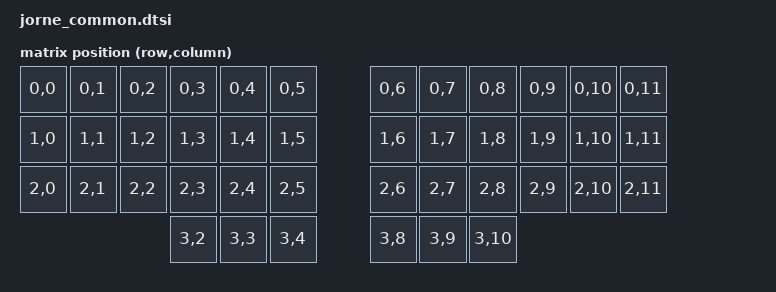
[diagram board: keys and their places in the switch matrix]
dts
/*
 * ------------------------------------------------------------------
 * Файл:      jorne_common.dtsi
 * Версия:    1.0
 * Автор:     Evgeniy Moskovkin
 * Описание:  Общий matrix-transform для сплит-клавиатуры Jorne
 *            (левая половина + правая половина + донгл-центр).
 *            Подключается через #include во ВСЕ ТРИ шилда, чтобы
 *            у всех частей клавиатуры была ОДИНАКОВАЯ нумерация
 *            "key position". Это обязательное требование ZMK для
 *            сплит-клавиатур: без этого позиции левой и правой
 *            половинки накладываются друг на друга.
 *
 *            Раскладка соответствует уже существующему
 *            jorne_dongle.keymap: 6 колонок на половину в трёх
 *            основных рядах + по 3 клавиши на больших пальцах.
 *            Итого 6*3*2 + 3*2 = 42 позиции — ровно столько,
 *            сколько бindings в keymap.
 *
 *            ВАЖНО: физические номера колонок для ряда больших
 *            пальцев (RC(3, ...)) ниже — ориентировочные (2,3,4-й
 *            провод из семи). Их нужно проверить на реальной плате
 *            методом из раздела 4 этого документа и поправить при
 *            необходимости под свою распайку.
 * ------------------------------------------------------------------
 */

#include <dt-bindings/zmk/matrix_transform.h>

/ {
    default_transform: keymap_transform_0 {
        compatible = "zmk,matrix-transform";
        columns = <12>;   // 6 колонок слева + 6 колонок справа
        rows = <4>;       // 3 основных ряда + 1 ряд больших пальцев

        map = <
        // ---- Ряд 0: цифровой/верхний буквенный ряд ----------------------
        RC(0,0) RC(0,1) RC(0,2) RC(0,3) RC(0,4) RC(0,5)    RC(0,6) RC(0,7) RC(0,8) RC(0,9) RC(0,10) RC(0,11)
        // ---- Ряд 1: домашний ряд -----------------------------------------
        RC(1,0) RC(1,1) RC(1,2) RC(1,3) RC(1,4) RC(1,5)    RC(1,6) RC(1,7) RC(1,8) RC(1,9) RC(1,10) RC(1,11)
        // ---- Ряд 2: нижний буквенный ряд ----------------------------------
        RC(2,0) RC(2,1) RC(2,2) RC(2,3) RC(2,4) RC(2,5)    RC(2,6) RC(2,7) RC(2,8) RC(2,9) RC(2,10) RC(2,11)
        // ---- Ряд 3: большие пальцы (3 слева + 3 справа) -------------------
        RC(3,2) RC(3,3) RC(3,4)             RC(3,8) RC(3,9) RC(3,10)
        >;
    };
};
